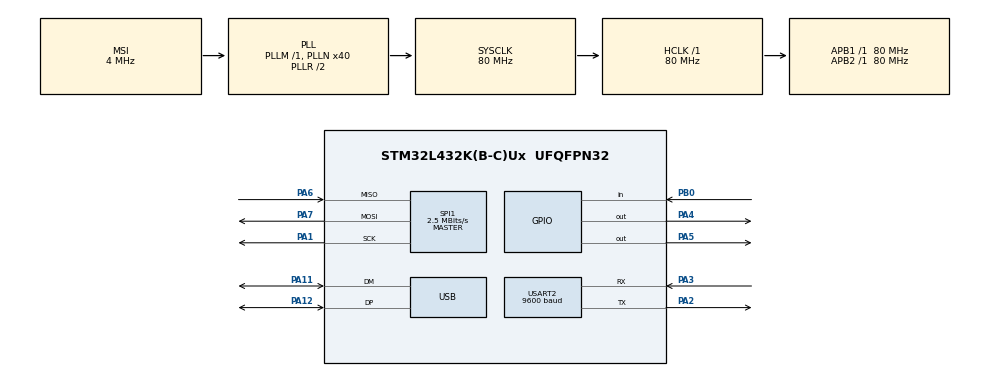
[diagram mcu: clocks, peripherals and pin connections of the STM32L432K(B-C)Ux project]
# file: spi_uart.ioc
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Mcu.Family=STM32L4
Mcu.Name=STM32L432K(B-C)Ux
Mcu.Package=UFQFPN32
NVIC.PriorityGroup=NVIC_PRIORITYGROUP_4
NVIC.RCC_IRQn=true\:0\:0\:false\:false\:true\:true
NVIC.USB_IRQn=true\:0\:0\:false\:false\:true\:false
PA0.Mode=HSE-External-Clock-Source-for-LittleOrca
PA0.Signal=RCC_CK_IN
PA1.Mode=Full_Duplex_Master
PA1.Signal=SPI1_SCK
PA11.Mode=Device
PA11.Signal=USB_DM
PA12.Mode=Device
PA12.Signal=USB_DP
PA2.Mode=Asynchronous
PA2.Signal=USART2_TX
PA3.Mode=Asynchronous
PA3.Signal=USART2_RX
PA4.Signal=GPIO_Output
PA5.Signal=GPIO_Output
PA6.Mode=Full_Duplex_Master
PA6.Signal=SPI1_MISO
PA7.Mode=Full_Duplex_Master
PA7.Signal=SPI1_MOSI
PB0.GPIO_PuPd=GPIO_PULLUP
PB0.Signal=GPIO_Input
PC14-OSC32_IN\ (PC14).Mode=LSE-External-Oscillator
PC14-OSC32_IN\ (PC14).Signal=RCC_OSC32_IN
PC15-OSC32_OUT\ (PC15).Mode=LSE-External-Oscillator
PC15-OSC32_OUT\ (PC15).Signal=RCC_OSC32_OUT
ProjectManager.HeapSize=0x200
ProjectManager.StackSize=0x400
ProjectManager.TargetToolchain=MDK-ARM V5
RCC.ADCFreq_Value=48000000
RCC.AHBFreq_Value=80000000
RCC.APB1Freq_Value=80000000
RCC.APB1TimFreq_Value=80000000
RCC.APB2Freq_Value=80000000
RCC.APB2TimFreq_Value=80000000
RCC.CortexFreq_Value=80000000
RCC.HCLKFreq_Value=80000000
RCC.HSE_VALUE=8000000
RCC.HSI48_VALUE=48000000
RCC.HSI_VALUE=16000000
RCC.MSI_VALUE=4000000
RCC.PLLN=40
RCC.PLLSAI1N=24
RCC.SYSCLKFreq_VALUE=80000000
RCC.SYSCLKSource=RCC_SYSCLKSOURCE_PLLCLK
RCC.USBFreq_Value=48000000
RCC.VCOOutputFreq_Value=160000000
SPI1.BaudRatePrescaler=SPI_BAUDRATEPRESCALER_32
SPI1.CLKPhase=SPI_PHASE_2EDGE
SPI1.CLKPolarity=SPI_POLARITY_HIGH
SPI1.CalculateBaudRate=2.5 MBits/s
SPI1.DataSize=SPI_DATASIZE_8BIT
SPI1.Direction=SPI_DIRECTION_2LINES
SPI1.Mode=SPI_MODE_MASTER
SPI1.VirtualType=VM_MASTER
USART2.BaudRate=9600
USART2.VirtualMode-Asynchronous=VM_ASYNC
USART2.WordLength=WORDLENGTH_8B
USB_DEVICE.CLASS_NAME_FS=HID
USB_DEVICE.VirtualMode=Hid
USB_DEVICE.VirtualModeFS=Hid_FS
VP_USB_DEVICE_VS_USB_DEVICE_HID_FS.Mode=HID_FS
board=spi_uart

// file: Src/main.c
/**
  ******************************************************************************
  * File Name          : main.c
  * Description        : Main program body
  ******************************************************************************
  * This notice applies to any and all portions of this file
  * that are not between comment pairs USER CODE BEGIN and
  * USER CODE END. Other portions of this file, whether
  * inserted by the user or by software development tools
  * are owned by their respective copyright owners.
  *
  * Copyright (c) 2018 STMicroelectronics International N.V.
  * All rights reserved.
  *
  * Redistribution and use in source and binary forms, with or without
  * modification, are permitted, provided that the following conditions are met:
  *
  * 1. Redistribution of source code must retain the above copyright notice,
  *    this list of conditions and the following disclaimer.
  * 2. Redistributions in binary form must reproduce the above copyright notice,
  *    this list of conditions and the following disclaimer in the documentation
  *    and/or other materials provided with the distribution.
  * 3. Neither the name of STMicroelectronics nor the names of other
  *    contributors to this software may be used to endorse or promote products
  *    derived from this software without specific written permission.
  * 4. This software, including modifications and/or derivative works of this
  *    software, must execute solely and exclusively on microcontroller or
  *    microprocessor devices manufactured by or for STMicroelectronics.
  * 5. Redistribution and use of this software other than as permitted under
  *    this license is void and will automatically terminate your rights under
  *    this license.
  *
  * THIS SOFTWARE IS PROVIDED BY STMICROELECTRONICS AND CONTRIBUTORS "AS IS"
  * AND ANY EXPRESS, IMPLIED OR STATUTORY WARRANTIES, INCLUDING, BUT NOT
  * LIMITED TO, THE IMPLIED WARRANTIES OF MERCHANTABILITY, FITNESS FOR A
  * PARTICULAR PURPOSE AND NON-INFRINGEMENT OF THIRD PARTY INTELLECTUAL PROPERTY
  * RIGHTS ARE DISCLAIMED TO THE FULLEST EXTENT PERMITTED BY LAW. IN NO EVENT
  * SHALL STMICROELECTRONICS OR CONTRIBUTORS BE LIABLE FOR ANY DIRECT, INDIRECT,
  * INCIDENTAL, SPECIAL, EXEMPLARY, OR CONSEQUENTIAL DAMAGES (INCLUDING, BUT NOT
  * LIMITED TO, PROCUREMENT OF SUBSTITUTE GOODS OR SERVICES; LOSS OF USE, DATA,
  * OR PROFITS; OR BUSINESS INTERRUPTION) HOWEVER CAUSED AND ON ANY THEORY OF
  * LIABILITY, WHETHER IN CONTRACT, STRICT LIABILITY, OR TORT (INCLUDING
  * NEGLIGENCE OR OTHERWISE) ARISING IN ANY WAY OUT OF THE USE OF THIS SOFTWARE,
  * EVEN IF ADVISED OF THE POSSIBILITY OF SUCH DAMAGE.
  *
  ******************************************************************************
  */

#include "main.h"
#include "stm32l4xx_hal.h"
#include "usb_device.h"
#include <stdbool.h>

SPI_HandleTypeDef hspi1;

UART_HandleTypeDef huart2;

/* USER CODE BEGIN PV */
/* Private variables ---------------------------------------------------------*/

/** \brief Variables SPI
 */

uint8_t bufftx[10] = "Hello!!\n\r";
uint8_t spiData[2];
char POWER_CTL = 0x2D;  /**< Power Control Register*/
char DATA_FORMAT = 0x31;
char DATAX0 = 0x32; /**< X-Axis Data 0*/
char DATAX1 = 0x33; /**< X-Axis Data 1*/
char DATAY0 = 0x34; /**< Y-Axis Data 0*/
char DATAY1 = 0x35; /**< Y-Axis Data 1*/
char DATAZ0 = 0x36; /**< Z-Axis Data 0*/
char DATAZ1 = 0x37; /**< Z-Axis Data 1*/
char values[10];    /**< This buffer will array_joy_xhold values read from the ADXL345 registers.*/

/** \brief Variables para el almacenamiento de los valores
 */

#define N 5					//Tamaсo del buffer de datos
#define D 3						//Datos guardados Joy Stick(X,Y), Pie(X)
#define H 10					//Margen por encima de los maximos

int mx[D][N];
int data_csv[16];

#define USB_HID_SCAN_NEXT 0x01
#define USB_HID_SCAN_PREV 0x02
#define USB_HID_STOP      0x04
#define USB_HID_EJECT     0x08
#define USB_HID_PAUSE     0x10
#define USB_HID_MUTE      0x20
#define USB_HID_VOL_UP    0x40
#define USB_HID_VOL_DEC   0x80

// USB keyboard codes
#define USB_HID_MODIFIER_LEFT_CTRL   0x01
#define USB_HID_MODIFIER_LEFT_SHIFT  0x02
#define USB_HID_MODIFIER_LEFT_ALT    0x04
#define USB_HID_MODIFIER_LEFT_GUI    0x08 // (Win/Apple/Meta)
#define USB_HID_MODIFIER_RIGHT_CTRL  0x10
#define USB_HID_MODIFIER_RIGHT_SHIFT 0x20
#define USB_HID_MODIFIER_RIGHT_ALT   0x40
#define USB_HID_MODIFIER_RIGHT_GUI   0x80

#define KEY_NONE 0x00 // No key pressed
#define KEY_ERR_OVF 0x01 //  Keyboard Error Roll Over - used for all slots if too many keys are pressed ("Phantom key")
// 0x02 //  Keyboard POST Fail
// 0x03 //  Keyboard Error Undefined
#define KEY_A 0x04 // Keyboard a and A
#define KEY_B 0x05 // Keyboard b and B
#define KEY_C 0x06 // Keyboard c and C
#define KEY_D 0x07 // Keyboard d and D
#define KEY_E 0x08 // Keyboard e and E
#define KEY_F 0x09 // Keyboard f and F
#define KEY_G 0x0a // Keyboard g and G
#define KEY_H 0x0b // Keyboard h and H
#define KEY_I 0x0c // Keyboard i and I
#define KEY_J 0x0d // Keyboard j and J
#define KEY_K 0x0e // Keyboard k and K
#define KEY_L 0x0f // Keyboard l and L
#define KEY_M 0x10 // Keyboard m and M
#define KEY_N 0x11 // Keyboard n and N
#define KEY_O 0x12 // Keyboard o and O
#define KEY_P 0x13 // Keyboard p and P
#define KEY_Q 0x14 // Keyboard q and Q
#define KEY_R 0x15 // Keyboard r and R
#define KEY_S 0x16 // Keyboard s and S
#define KEY_T 0x17 // Keyboard t and T
#define KEY_U 0x18 // Keyboard u and U
#define KEY_V 0x19 // Keyboard v and V
#define KEY_W 0x1a // Keyboard w and W
#define KEY_X 0x1b // Keyboard x and X
#define KEY_Y 0x1c // Keyboard y and Y
#define KEY_Z 0x1d // Keyboard z and Z

#define KEY_1 0x1e // Keyboard 1 and !
#define KEY_2 0x1f // Keyboard 2 and @
#define KEY_3 0x20 // Keyboard 3 and #
#define KEY_4 0x21 // Keyboard 4 and $
#define KEY_5 0x22 // Keyboard 5 and %
#define KEY_6 0x23 // Keyboard 6 and ^
#define KEY_7 0x24 // Keyboard 7 and &
#define KEY_8 0x25 // Keyboard 8 and *
#define KEY_9 0x26 // Keyboard 9 and (
#define KEY_0 0x27 // Keyboard 0 and )

#define KEY_COMA 0x36 // Keyboard , and <
#define KEY_DOT 0x37 // Keyboard . and >

#define KEY_ENTER 0x28 // Keyboard Return (ENTER)
#define KEY_ESC 0x29 // Keyboard ESCAPE
#define KEY_BACKSPACE 0x2a // Keyboard DELETE (Backspace)
#define KEY_TAB 0x2b // Keyboard Tab
#define KEY_SPACE 0x2c // Keyboard Spacebar

/* USER CODE END PV */

void SystemClock_Config(void);
static void MX_GPIO_Init(void);
static void MX_USART2_UART_Init(void);
static void MX_SPI1_Init(void);

/* USER CODE BEGIN PFP */
/* Private function prototypes -----------------------------------------------*/

#ifdef __GNUC__
	#define PUTCHAR_PROTOTYPE int __io_putchar(int ch)
#else
	#define PUTCHAR_PROTOTYPE int fputc(int ch, FILE *f)
#endif /* __GNUC__ */

/* USER CODE END PFP */

/* USER CODE BEGIN 0 */

struct keyboardHID_t {
		uint8_t id;
		uint8_t modifiers;
		uint8_t key1;
		uint8_t key2;
		uint8_t key3;
};

void keyboard(uint8_t modificador, uint8_t letra){
	  struct keyboardHID_t keyboardHID;
		keyboardHID.id = 1;
		keyboardHID.modifiers = modificador;
		keyboardHID.key1 = letra;
		keyboardHID.key2 = 0;
		keyboardHID.key3 = 0;
    USBD_HID_SendReport(&hUsbDeviceFS, &keyboardHID, sizeof(struct keyboardHID_t));
		HAL_Delay(30);

		keyboardHID.id = 1;
		keyboardHID.modifiers = 0;
		keyboardHID.key1 = 0;
		keyboardHID.key2 = 0;
		keyboardHID.key3 = 0;
    USBD_HID_SendReport(&hUsbDeviceFS, &keyboardHID, sizeof(struct keyboardHID_t));
    HAL_Delay(30);
}

PUTCHAR_PROTOTYPE
{

  HAL_UART_Transmit(&huart2, (uint8_t *)&ch, 1, 0xFFFF);
  return ch;
}

/** \brief Configura los dispositivos adxl
 *
 *
 * \param uint_16 CS dispositivo seleccionado
 * \return devuelve un int con el valor leido
 */
void init_SPI(uint16_t CS){

	HAL_GPIO_WritePin(GPIOA,CS,GPIO_PIN_SET);
	HAL_Delay(10);

	//Write operation
	HAL_GPIO_WritePin(GPIOA,CS,GPIO_PIN_RESET);
	spiData[0] = DATA_FORMAT;
	spiData[1] = 0x01;
	HAL_SPI_Transmit(&hspi1,spiData,2,10);
	HAL_GPIO_WritePin(GPIOA,CS,GPIO_PIN_SET);

	//Write operation
	HAL_GPIO_WritePin(GPIOA,CS,GPIO_PIN_RESET);
	spiData[0] = POWER_CTL;
	spiData[1] = 0x08;
	HAL_SPI_Transmit(&hspi1,spiData,2,10);
	HAL_GPIO_WritePin(GPIOA,CS,GPIO_PIN_SET);
	HAL_Delay(10);

}
	/** \brief Lee el dato que se encuentra en la posicion de memoria que especifiacmos
 *
 *
 * \param char address
 					char DATAX0 = 0x32;
					char DATAX1 = 0x33;
					char DATAY0 = 0x34;
					char DATAY1 = 0x35;
					char DATAZ0 = 0x36;
					char DATAZ1 = 0x37;
 * \param uint_16 CS dispositivo seleccionado
 * \return devuelve un int con el valor leido
 */
int spi_read(char address, uint16_t CS){
	uint8_t spiData1[2];

	spiData1[0] = 0x80 | address;

	HAL_GPIO_WritePin(GPIOA,CS,GPIO_PIN_RESET);

	HAL_SPI_Transmit(&hspi1,spiData1,1,10);
	HAL_SPI_Receive(&hspi1,&spiData1[1],1,100);
	HAL_GPIO_WritePin(GPIOA,CS,GPIO_PIN_SET);

	//printf("DATAX0 = %d\t\t",spiData1[1]);

	return spiData1[1];
}
/** \brief Lee los seis datos que envia el adxl345
 *
 *
 * \param uint_16 CS dispositivo seleccionado
 * \return devuelve un int con el valor leido
 */
void adxl_read(uint16_t CS, int pos[]){
	int values[6];
	for(int i=0;i<6;i++){
		values[i]= spi_read(DATAX0+i,CS);
		//printf("%x\t",values[i]);
	}

	int pos_16[3];
	pos_16[0] = (values[1] << 8) | values[0];  //< The X value is stored in values[0] and values[1].*/
  pos_16[1] = ((int)values[3] << 8) | (int)values[2];  //< The Y value is stored in values[2] and values[3].*/
  pos_16[2] = ((int)values[5] << 8) | (int)values[4];  //< The Z value is stored in values[4] and values[5].*/

	pos[0] = -entero16_to32(pos_16[0]);
	pos[1] = -entero16_to32(pos_16[1]);
	pos[2] = entero16_to32(pos_16[2]);

	for(int i=0;i<3;i++){
		//printf("%4d\t",pos[i]);
	}

}
/** \brief Convierte un numero en complemento a 2 de 16 bits en uno de 32, en el caso de que el bit numero 15 se 1
 *					completaremos los proximos 16 bits con ffff de esta manera extenderemos el signo.
 *
 *
 * \param uint_16 CS dispositivo seleccionado
 * \return devuelve un int con el valor leido
 */

int entero16_to32(int c){

			int sol;

    if((0x00008000&c) == 0x00008000){
        //printf("Se detecto numero negativo\n\r");
        sol = 0xFFFF0000|c;

    }
    //printf("%x\t%d\n\r",c,c);
    return sol;

}

void add_value(int *p,int x){

    for(int i=N-1; i>=0; i--){       //IMPOTANTE
        *(p+i) = *(p+i-1);
    }
    *p =  x;
}

 /** \brief Necesario para ejecutar QSORT y poder ordenar el vector
  */
int cmp (const void * a, const void * b) {
   return ( *(int*)a - *(int*)b );
}
void media_min_max(int x[][N],int c, int sol[]){

    int aux_v[N];
    for(int i=0;i<D;i++){                   //Pasamos una fila de la matriz a un vector auxiliar
        for(int j=0;j<N;j++){
            aux_v[j]=x[i][j];
        }

        qsort(aux_v,N,sizeof(aux_v[0]),cmp);    //Ordenamos el vector auxiliar
        int sum=0;
        for(int k=c; k<N-c; k++){             //Sumamos todos los componentes del vector sin contar los max o min
            sum += aux_v[k];                //en funcion del c que es la cantidad de numeros que excluimos
        }
        sol[i] = sum/(N-(2*c));
    }
}

void estabilizador(int mx[][N],int input[], int output[],int excluir){

      for(int i=0;i<D;i++)                      //A?adimos los valores leidos al la primera columna de la matriz
            add_value(&mx[i][0],input[i]);

        media_min_max(mx,excluir,output);

  }

int selector_pie(int x){
	const int npp=4;
	static int max_pie = -140;
	static int min_pie = 100;
	static int paso_pie;
	int sol;
	if((x<min_pie || x>max_pie) && x != 0){

		if(x<min_pie)
			min_pie = x;
		if(x>max_pie)
			max_pie = x;

		if(max_pie == min_pie)
				paso_pie = 100;
		else
				paso_pie = (max_pie-min_pie + 5)/npp;

        //scanf("%s", str1);
	}

  sol = (x-min_pie)/paso_pie;

	data_csv[11] = x;
	data_csv[12] = sol;
	data_csv[13] = max_pie;
	data_csv[14] = min_pie;
	data_csv[15] = paso_pie;
	return sol;
}

int selector_joy(int x,int y){
	const int npp=3;
	static int max_joy[2] = {-100,-100};
	static int min_joy[2] = {100,100};
	static int paso_joy[2];
	int sx,sy;
	int sol;

	if(x<min_joy[0] || x>max_joy[0]){

		if(x<min_joy[0])
			min_joy[0] = x;
		if(x>max_joy[0])
			max_joy[0] = x;

        if(max_joy[0] == min_joy[0])
            paso_joy[0] = 100;
        else
            paso_joy[0] = (max_joy[0] + H - min_joy[0])/npp;
	}
	sx = (x-min_joy[0])/paso_joy[0];

	if(y<min_joy[1] || y>max_joy[1]){

		if(y<min_joy[1])
			min_joy[1] = y;
		if(y>max_joy[1])
			max_joy[1] = y;

        if(max_joy[1] == min_joy[1])
            paso_joy[1] = 100;
        else
            paso_joy[1] = (max_joy[1] + H - min_joy[1])/npp;

        //scanf("%s", str1);
	}
    sy = (y-min_joy[1])/paso_joy[1];

	data_csv[0] = x;
	data_csv[1] = sx;
	data_csv[2] = max_joy[0];
	data_csv[3] = min_joy[0];
	data_csv[4] = paso_joy[0];
	data_csv[5] = y;
	data_csv[6] = sy;
	data_csv[7] = max_joy[1];
	data_csv[8] = min_joy[1];
	data_csv[9] = paso_joy[1];

	//printf("\fDato X= %3d  sel = %3d  max = %3d  min = %3d  paso = %3d",x,sx,max_joy[0],min_joy[0], paso_joy[0]);
	//printf("Dato Y= %3d   seleccion en Y = %3d      ",y,sy);

	sol = sx+3*sy;
	data_csv[10] = sol;
	//printf("   Pos = %d      \n\r",sol);

	return sol;
}

int selector_letra(int joy, int pie){
    int num_letra = joy * 4 + pie;
		return num_letra;
}

void greeting(){
	printf("\f\nStarting");
	for(int i = 0; i < 20; i++){
		printf(",");
		HAL_Delay(200);

		int out_adxl_4[3];
		adxl_read(GPIO_PIN_4,out_adxl_4);

		//printf("\tGPIO_PIN_5\t");
		int out_adxl_5[3];
		adxl_read(GPIO_PIN_5,out_adxl_5);
		int out_adxl_mix[3];
		out_adxl_mix[0] = out_adxl_4[0];
		out_adxl_mix[1] = out_adxl_4[1];
		out_adxl_mix[2] = out_adxl_5[0];

		//printf("\n\r");
		int adxl_fitrada[3];
		estabilizador(mx,out_adxl_mix,adxl_fitrada,2);
	}
	printf("\n");
	HAL_Delay(200);
	printf("OK\n");
}

/* USER CODE END 0 */

int main(void)
{

  /* USER CODE BEGIN 1 */

	uint8_t cadena_letras[] = {KEY_BACKSPACE, KEY_BACKSPACE, KEY_BACKSPACE, KEY_BACKSPACE,    KEY_A,KEY_B,KEY_C,KEY_D,    KEY_E,KEY_F,KEY_G,KEY_H,    KEY_Y,KEY_Z,KEY_DOT,KEY_COMA,    KEY_SPACE, KEY_SPACE, KEY_ENTER, KEY_ENTER,    KEY_I,KEY_J,KEY_K,KEY_L,  KEY_U,KEY_V,KEY_W,KEY_X,    KEY_Q,KEY_R,KEY_S,KEY_T,    KEY_M,KEY_N,KEY_O,KEY_P};

	// HID Media
  struct mediaHID_t {
    uint8_t id;
    uint8_t keys;
  };

  struct mediaHID_t mediaHID;
  mediaHID.id = 2;
  mediaHID.keys = 0;

  /* USER CODE END 1 */

  /* MCU Configuration----------------------------------------------------------*/

  /* Reset of all peripherals, Initializes the Flash interface and the Systick. */
  HAL_Init();

  /* Configure the system clock */
  SystemClock_Config();

  /* Initialize all configured peripherals */
  MX_GPIO_Init();
  MX_USART2_UART_Init();
  MX_SPI1_Init();
  MX_USB_DEVICE_Init();

  /* USER CODE BEGIN 2 */

	init_SPI(GPIO_PIN_4);
	init_SPI(GPIO_PIN_5);

	int out_adxl_mix[3];
	int adxl_fitrada[3];

	greeting();
	bool old_value = true;
  /* USER CODE END 2 */

  /* Infinite loop */
  while (1)
  {

  /* USER CODE BEGIN 3 */
		//lectura_SPI();
		//printf("GPIO_PIN_4\t");
		int out_adxl_4[3];
		adxl_read(GPIO_PIN_4,out_adxl_4);

		//printf("\tGPIO_PIN_5\t");
		int out_adxl_5[3];
		adxl_read(GPIO_PIN_5,out_adxl_5);

		out_adxl_mix[0] = out_adxl_4[0];
		out_adxl_mix[1] = out_adxl_4[1];
		out_adxl_mix[2] = out_adxl_5[0];

		//printf("\n\r");

		estabilizador(mx,out_adxl_mix,adxl_fitrada,2);
		/*for(int i = 0; i<3; i++){
			printf("%4d\t",adxl_fitrada[i]);
		}

		*/

		int seleccion_joy = selector_joy(adxl_fitrada[0],adxl_fitrada[1]);
		int seleccion_pie = selector_pie(-adxl_fitrada[2]);
		//printf("%4d, %4d, %4d\t\t",out_adxl_4[0],out_adxl_4[1],out_adxl_4[2]);
		//printf("%4d, %4d, %4d\n\r",out_adxl_5[0],out_adxl_5[1],out_adxl_5[2]);
		printf("%4d, %4d, %4d, %4d, %4d, %4d, %4d, %4d, %4d, %4d, %4d, %4d, %4d, %4d, %4d, %4d\n\r",data_csv[0],data_csv[1],data_csv[2],data_csv[3],data_csv[4],data_csv[5],data_csv[6],data_csv[7],data_csv[8],data_csv[9],data_csv[10],data_csv[11],data_csv[12],data_csv[13],data_csv[14],data_csv[15]);
		//printf("\fDato X= %3d  sel = %3d  max = %3d  min = %3d  paso = %3d  Pos = %3d",data_csv[0],data_csv[1],data_csv[2],data_csv[3], data_csv[4],data_csv[5]);

		//selector_pie(adxl_fitrada[0]);
		//printf("\n\r");

		bool value = HAL_GPIO_ReadPin(GPIOB,GPIO_PIN_0);

		if(!value && old_value){

			//HAL_GPIO_TogglePin(GPIOA,GPIO_PIN_2);
			keyboard(0x00,cadena_letras[selector_letra(seleccion_joy,seleccion_pie)]);

		}

		old_value = value;

		HAL_Delay(10);

  }
  /* USER CODE END 3 */

}

/** System Clock Configuration
*/
void SystemClock_Config(void)
{

  RCC_OscInitTypeDef RCC_OscInitStruct;
  RCC_ClkInitTypeDef RCC_ClkInitStruct;
  RCC_PeriphCLKInitTypeDef PeriphClkInit;

    /**Configure LSE Drive Capability
    */
  __HAL_RCC_LSEDRIVE_CONFIG(RCC_LSEDRIVE_LOW);

    /**Initializes the CPU, AHB and APB busses clocks
    */
  RCC_OscInitStruct.OscillatorType = RCC_OSCILLATORTYPE_LSE|RCC_OSCILLATORTYPE_MSI;
  RCC_OscInitStruct.LSEState = RCC_LSE_ON;
  RCC_OscInitStruct.MSIState = RCC_MSI_ON;
  RCC_OscInitStruct.MSICalibrationValue = 0;
  RCC_OscInitStruct.MSIClockRange = RCC_MSIRANGE_6;
  RCC_OscInitStruct.PLL.PLLState = RCC_PLL_ON;
  RCC_OscInitStruct.PLL.PLLSource = RCC_PLLSOURCE_MSI;
  RCC_OscInitStruct.PLL.PLLM = 1;
  RCC_OscInitStruct.PLL.PLLN = 40;
  RCC_OscInitStruct.PLL.PLLP = RCC_PLLP_DIV7;
  RCC_OscInitStruct.PLL.PLLQ = RCC_PLLQ_DIV2;
  RCC_OscInitStruct.PLL.PLLR = RCC_PLLR_DIV2;
  if (HAL_RCC_OscConfig(&RCC_OscInitStruct) != HAL_OK)
  {
    _Error_Handler(__FILE__, __LINE__);
  }

    /**Initializes the CPU, AHB and APB busses clocks
    */
  RCC_ClkInitStruct.ClockType = RCC_CLOCKTYPE_HCLK|RCC_CLOCKTYPE_SYSCLK
                              |RCC_CLOCKTYPE_PCLK1|RCC_CLOCKTYPE_PCLK2;
  RCC_ClkInitStruct.SYSCLKSource = RCC_SYSCLKSOURCE_PLLCLK;
  RCC_ClkInitStruct.AHBCLKDivider = RCC_SYSCLK_DIV1;
  RCC_ClkInitStruct.APB1CLKDivider = RCC_HCLK_DIV1;
  RCC_ClkInitStruct.APB2CLKDivider = RCC_HCLK_DIV1;

  if (HAL_RCC_ClockConfig(&RCC_ClkInitStruct, FLASH_LATENCY_4) != HAL_OK)
  {
    _Error_Handler(__FILE__, __LINE__);
  }

  PeriphClkInit.PeriphClockSelection = RCC_PERIPHCLK_USART2|RCC_PERIPHCLK_USB;
  PeriphClkInit.Usart2ClockSelection = RCC_USART2CLKSOURCE_PCLK1;
  PeriphClkInit.UsbClockSelection = RCC_USBCLKSOURCE_PLLSAI1;
  PeriphClkInit.PLLSAI1.PLLSAI1Source = RCC_PLLSOURCE_MSI;
  PeriphClkInit.PLLSAI1.PLLSAI1M = 1;
  PeriphClkInit.PLLSAI1.PLLSAI1N = 24;
  PeriphClkInit.PLLSAI1.PLLSAI1P = RCC_PLLP_DIV7;
  PeriphClkInit.PLLSAI1.PLLSAI1Q = RCC_PLLQ_DIV2;
  PeriphClkInit.PLLSAI1.PLLSAI1R = RCC_PLLR_DIV2;
  PeriphClkInit.PLLSAI1.PLLSAI1ClockOut = RCC_PLLSAI1_48M2CLK;
  if (HAL_RCCEx_PeriphCLKConfig(&PeriphClkInit) != HAL_OK)
  {
    _Error_Handler(__FILE__, __LINE__);
  }

    /**Configure the main internal regulator output voltage
    */
  if (HAL_PWREx_ControlVoltageScaling(PWR_REGULATOR_VOLTAGE_SCALE1) != HAL_OK)
  {
    _Error_Handler(__FILE__, __LINE__);
  }

    /**Configure the Systick interrupt time
    */
  HAL_SYSTICK_Config(HAL_RCC_GetHCLKFreq()/1000);

    /**Configure the Systick
    */
  HAL_SYSTICK_CLKSourceConfig(SYSTICK_CLKSOURCE_HCLK);

    /**Enable MSI Auto calibration
    */
  HAL_RCCEx_EnableMSIPLLMode();

  /* SysTick_IRQn interrupt configuration */
  HAL_NVIC_SetPriority(SysTick_IRQn, 0, 0);
}

/* SPI1 init function */
static void MX_SPI1_Init(void)
{

  /* SPI1 parameter configuration*/
  hspi1.Instance = SPI1;
  hspi1.Init.Mode = SPI_MODE_MASTER;
  hspi1.Init.Direction = SPI_DIRECTION_2LINES;
  hspi1.Init.DataSize = SPI_DATASIZE_8BIT;
  hspi1.Init.CLKPolarity = SPI_POLARITY_HIGH;
  hspi1.Init.CLKPhase = SPI_PHASE_2EDGE;
  hspi1.Init.NSS = SPI_NSS_SOFT;
  hspi1.Init.BaudRatePrescaler = SPI_BAUDRATEPRESCALER_32;
  hspi1.Init.FirstBit = SPI_FIRSTBIT_MSB;
  hspi1.Init.TIMode = SPI_TIMODE_DISABLE;
  hspi1.Init.CRCCalculation = SPI_CRCCALCULATION_DISABLE;
  hspi1.Init.CRCPolynomial = 7;
  hspi1.Init.CRCLength = SPI_CRC_LENGTH_DATASIZE;
  hspi1.Init.NSSPMode = SPI_NSS_PULSE_DISABLE;
  if (HAL_SPI_Init(&hspi1) != HAL_OK)
  {
    _Error_Handler(__FILE__, __LINE__);
  }

}

/* USART2 init function */
static void MX_USART2_UART_Init(void)
{

  huart2.Instance = USART2;
  huart2.Init.BaudRate = 9600;
  huart2.Init.WordLength = UART_WORDLENGTH_8B;
  huart2.Init.StopBits = UART_STOPBITS_1;
  huart2.Init.Parity = UART_PARITY_NONE;
  huart2.Init.Mode = UART_MODE_TX_RX;
  huart2.Init.HwFlowCtl = UART_HWCONTROL_NONE;
  huart2.Init.OverSampling = UART_OVERSAMPLING_16;
  huart2.Init.OneBitSampling = UART_ONE_BIT_SAMPLE_DISABLE;
  huart2.AdvancedInit.AdvFeatureInit = UART_ADVFEATURE_NO_INIT;
  if (HAL_UART_Init(&huart2) != HAL_OK)
  {
    _Error_Handler(__FILE__, __LINE__);
  }

}

/** Configure pins as
        * Analog
        * Input
        * Output
        * EVENT_OUT
        * EXTI
*/
static void MX_GPIO_Init(void)
{

  GPIO_InitTypeDef GPIO_InitStruct;

  /* GPIO Ports Clock Enable */
  __HAL_RCC_GPIOC_CLK_ENABLE();
  __HAL_RCC_GPIOA_CLK_ENABLE();
  __HAL_RCC_GPIOB_CLK_ENABLE();

  /*Configure GPIO pin Output Level */
  HAL_GPIO_WritePin(GPIOA, GPIO_PIN_4|GPIO_PIN_5, GPIO_PIN_RESET);

  /*Configure GPIO pins : PA4 PA5 */
  GPIO_InitStruct.Pin = GPIO_PIN_4|GPIO_PIN_5;
  GPIO_InitStruct.Mode = GPIO_MODE_OUTPUT_PP;
  GPIO_InitStruct.Pull = GPIO_NOPULL;
  GPIO_InitStruct.Speed = GPIO_SPEED_FREQ_LOW;
  HAL_GPIO_Init(GPIOA, &GPIO_InitStruct);

  /*Configure GPIO pin : PB0 */
  GPIO_InitStruct.Pin = GPIO_PIN_0;
  GPIO_InitStruct.Mode = GPIO_MODE_INPUT;
  GPIO_InitStruct.Pull = GPIO_PULLUP;
  HAL_GPIO_Init(GPIOB, &GPIO_InitStruct);

}

void _Error_Handler(char * file, int line)
{
  while(1)
  {
  }
}

/************************ (C) COPYRIGHT STMicroelectronics *****END OF FILE****/
